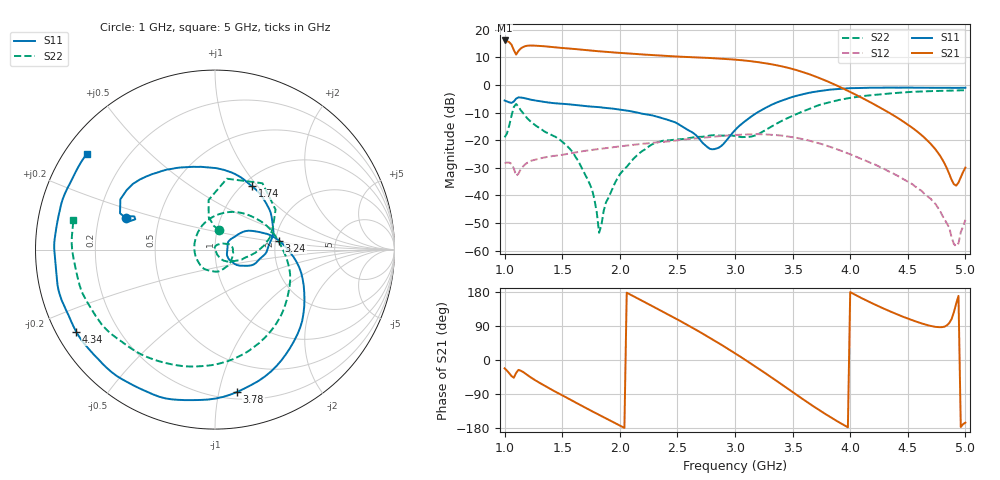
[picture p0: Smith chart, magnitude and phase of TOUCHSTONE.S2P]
!Agilent Technologies,E5071C,MY46107106,A.09.54
!Date: Thu Jun 06 16:58:22 2013
!Data & Calibration Information:
!Freq	S11:SOLT2(ON)	S21:SOLT2(ON)	S12:SOLT2(ON)	S22:SOLT2(ON)
# Hz S dB R 50
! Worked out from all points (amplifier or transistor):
!   201 points, 1 GHz to 5 GHz, reference 50 ohm
!   highest |S21| = 16.1 dB at 1 GHz (marker M1)
!   |S21| within 3 dB of that: 1.138 GHz to 1.582 GHz (444.2 MHz wide, 32.7 % of centre)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
!   unconditionally stable (mu >= 1): start of sweep to end of sweep
!   at 1.66 GHz: K = 1.63, MAG = 13.8 dB, |S12| = -24.1 dB
!   at 3 GHz: K = 1.53, MAG = 9.3 dB, |S12| = -18.1 dB
!   at 5 GHz: K = 313.11, MAG = -18.5 dB, |S12| = -48.9 dB
!   S11 on the Smith chart (normalised r, x): 1 GHz: 0.32, +0.16; 1.74 GHz: 1.11, +0.94; 3.24 GHz: 2.09, +0.24; 3.78 GHz: 0.25, -1.14; 4.34 GHz: 0.06, -0.27; 5 GHz: 0.06, +0.33
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1e9  -5.61 160.3  16.15 -22.1  -28.30 -48.4  -18.94 77.8
1.06e9  -6.46 159.2  14.63 -42.5  -28.57 -70.9  -11.09 97.3
1.08e9  -5.98 161.7  12.65 -46.7  -30.24 -79.2  -7.95 80.5
1.1e9  -4.93 159.0  11.05 -34.2  -32.87 -71.5  -6.85 54.4
1.12e9  -4.48 152.0  12.34 -26.1  -32.17 -54.1  -7.87 33.5
1.2e9  -5.05 133.3  14.25 -40.4  -28.09 -60.6  -12.22 -0.4
1.4e9  -6.44 104.5  13.79 -77.0  -25.87 -95.2  -17.95 -30.3
1.68e9  -7.48 67.6  12.79 -122.5  -23.96 -134.2  -30.83 -66.7
1.74e9  -7.77 59.5  12.53 -132.2  -23.58 -143.5  -35.97 -64.5
1.82e9  -8.02 50.0  12.23 -144.7  -23.17 -155.0  -53.55 -110.0
2.04e9  -9.17 21.9  11.54 -179.2  -22.05 173.3  -30.43 64.5
2.34e9  -11.67 -10.0  10.70 132.8  -20.69 127.9  -20.61 13.5
2.66e9  -18.14 -36.1  10.03 80.1  -19.33 78.7  -18.82 -46.9
3e9  -16.36 33.3  9.20 17.9  -18.10 20.3  -18.44 -132.6
3.24e9  -8.85 7.9  8.04 -30.1  -17.84 -26.5  -16.92 126.3
3.44e9  -5.15 -25.8  6.44 -71.9  -18.52 -67.9  -12.30 59.2
3.68e9  -2.53 -65.3  3.37 -122.0  -20.55 -116.4  -8.04 -5.3
3.78e9  -1.91 -81.1  1.73 -141.6  -21.78 -135.7  -6.68 -26.2
4.04e9  -1.13 -115.8  -3.34 172.6  -25.79 179.9  -4.39 -74.6
4.34e9  -0.93 -149.3  -10.09 129.1  -31.44 138.1  -3.07 -119.5
4.92e9  -1.03 151.0  -36.45 148.7  -58.40 173.3  -1.94 176.0
5e9  -1.00 143.1  -29.91 -165.3  -48.85 -146.6  -1.87 168.0
